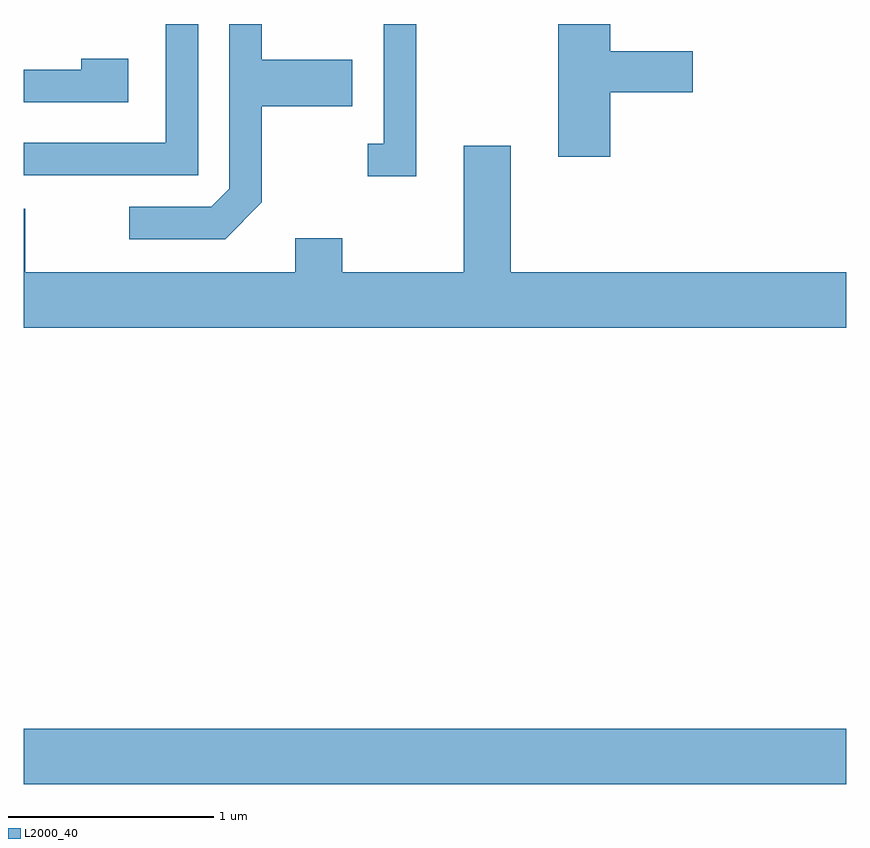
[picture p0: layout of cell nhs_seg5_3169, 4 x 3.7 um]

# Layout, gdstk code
import gdstk
lib = gdstk.Library(unit=1e-6, precision=1e-09)
def R(c, l, rs):  # rectangles x0, y0, x1, y1
    for r in rs: c.add(gdstk.rectangle(r[:2], r[2:], *l))
def P(c, l, *ps):  # polygons
    for p in ps: c.add(gdstk.Polygon(p, *l))
L2000_40 = (2000, 40)

nhs_seg5_3169 = lib.new_cell('nhs_seg5_3169')
R(nhs_seg5_3169, L2000_40, [(279.611,1432.376,283.611,1432.644)])
P(nhs_seg5_3169, L2000_40, [(280.459,1436.072),(280.301,1436.072),(280.301,1435.494),(279.611,1435.494),(279.611,1435.336),(280.459,1435.336)],
  [(280.769,1435.204),(280.769,1435.671),(281.209,1435.671),(281.209,1435.899),(280.769,1435.899),(280.769,1436.072),(280.611,1436.072),(280.611,1435.272),(280.524,1435.184),(280.123,1435.184),(280.123,1435.026),(280.592,1435.026)],
  [(282.464,1435.741),(282.864,1435.741),(282.864,1435.939),(282.464,1435.939),(282.464,1436.072),(282.211,1436.072),(282.211,1435.426),(282.464,1435.426)],
  [(281.519,1436.072),(281.361,1436.072),(281.361,1435.489),(281.283,1435.489),(281.283,1435.331),(281.519,1435.331)],
  [(280.119,1435.904),(279.891,1435.904),(279.891,1435.849),(279.611,1435.849),(279.611,1435.691),(280.119,1435.691)],
  [(283.611,1434.864),(281.979,1434.864),(281.979,1435.479),(281.751,1435.479),(281.751,1434.864),(281.159,1434.864),(281.159,1435.029),(280.931,1435.029),(280.931,1434.864),(279.619,1434.864),(279.619,1435.174),(279.611,1435.174),(279.611,1434.596),(283.611,1434.596)])

lib.write_gds('nhs_seg5_3169.gds')
